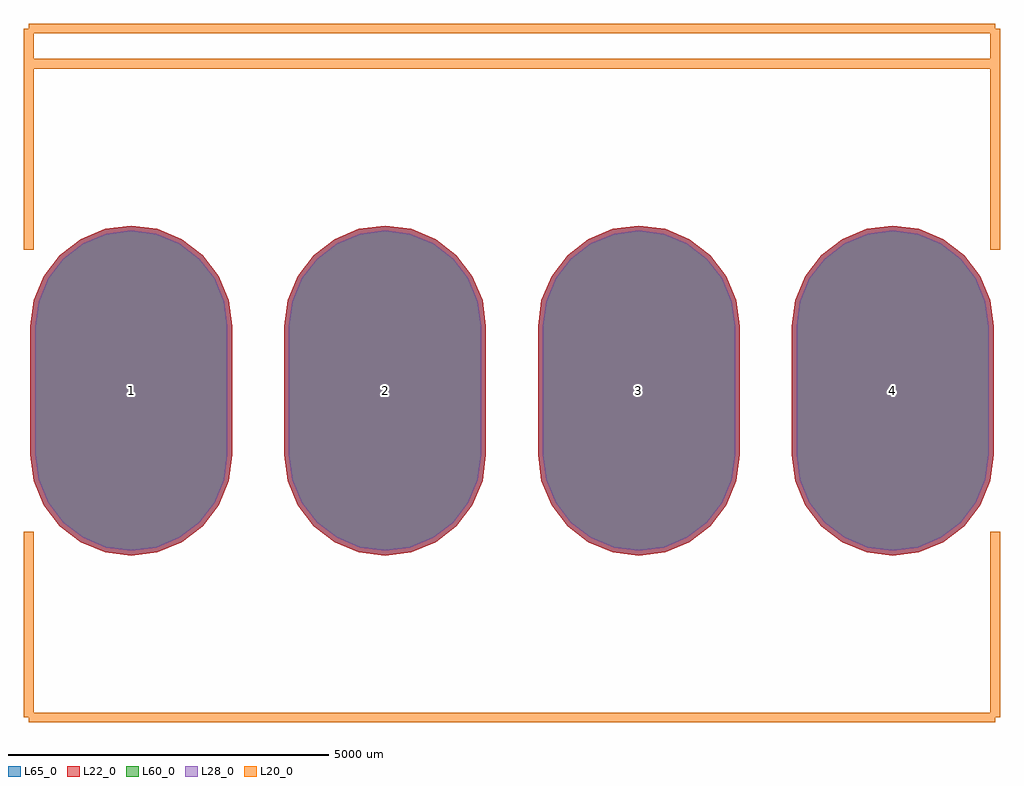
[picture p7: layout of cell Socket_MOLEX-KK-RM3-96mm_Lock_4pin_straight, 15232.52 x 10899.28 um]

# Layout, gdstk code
import gdstk
lib = gdstk.Library(unit=1e-6, precision=1e-09)
def P(c, l, *ps):  # polygons
    for p in ps: c.add(gdstk.Polygon(p, *l))
L20_0 = (20, 0)
L22_0 = (22, 0)
L28_0 = (28, 0)
L60_0 = (60, 0)
L65_0 = (65, 0)

socket_molex_kk_rm3_96mm = lib.new_cell('Socket_MOLEX-KK-RM3-96mm_Lock_4pin_straight')
P(socket_molex_kk_rm3_96mm, L22_0, [(5941.06,-2575.63),(6348.666,-2521.968),(6728.495,-2364.637),(7054.661,-2114.361),(7304.937,-1788.195),(7462.268,-1408.366),(7515.93,-1000.76),(7515.93,1000.76),(7462.268,1408.366),(7304.937,1788.195),(7054.661,2114.361),(6728.495,2364.637),(6348.666,2521.968),(5941.06,2575.63),(5533.454,2521.968),(5153.625,2364.637),(4827.459,2114.361),(4577.183,1788.195),(4419.852,1408.366),(4366.19,1000.76),(4366.19,-1000.76),(4419.852,-1408.366),(4577.183,-1788.195),(4827.459,-2114.361),(5153.625,-2364.637),(5533.454,-2521.968)],
  [(-5941.06,-2575.63),(-5533.454,-2521.968),(-5153.625,-2364.637),(-4827.459,-2114.361),(-4577.183,-1788.195),(-4419.852,-1408.366),(-4366.19,-1000.76),(-4366.19,1000.76),(-4419.852,1408.366),(-4577.183,1788.195),(-4827.459,2114.361),(-5153.625,2364.637),(-5533.454,2521.968),(-5941.06,2575.63),(-6348.666,2521.968),(-6728.495,2364.637),(-7054.661,2114.361),(-7304.937,1788.195),(-7462.268,1408.366),(-7515.93,1000.76),(-7515.93,-1000.76),(-7462.268,-1408.366),(-7304.937,-1788.195),(-7054.661,-2114.361),(-6728.495,-2364.637),(-6348.666,-2521.968)],
  [(1981.2,-2575.63),(2388.806,-2521.968),(2768.635,-2364.637),(3094.801,-2114.361),(3345.077,-1788.195),(3502.408,-1408.366),(3556.07,-1000.76),(3556.07,1000.76),(3502.408,1408.366),(3345.077,1788.195),(3094.801,2114.361),(2768.635,2364.637),(2388.806,2521.968),(1981.2,2575.63),(1573.594,2521.968),(1193.765,2364.637),(867.599,2114.361),(617.323,1788.195),(459.992,1408.366),(406.33,1000.76),(406.33,-1000.76),(459.992,-1408.366),(617.323,-1788.195),(867.599,-2114.361),(1193.765,-2364.637),(1573.594,-2521.968)],
  [(-1981.2,-2575.63),(-1573.594,-2521.968),(-1193.765,-2364.637),(-867.599,-2114.361),(-617.323,-1788.195),(-459.992,-1408.366),(-406.33,-1000.76),(-406.33,1000.76),(-459.992,1408.366),(-617.323,1788.195),(-867.599,2114.361),(-1193.765,2364.637),(-1573.594,2521.968),(-1981.2,2575.63),(-2388.806,2521.968),(-2768.635,2364.637),(-3094.801,2114.361),(-3345.077,1788.195),(-3502.408,1408.366),(-3556.07,1000.76),(-3556.07,-1000.76),(-3502.408,-1408.366),(-3345.077,-1788.195),(-3094.801,-2114.361),(-2768.635,-2364.637),(-2388.806,-2521.968)])
P(socket_molex_kk_rm3_96mm, L28_0, [(5941.06,-2500.63),(6329.255,-2449.523),(6690.995,-2299.686),(7001.628,-2061.328),(7239.986,-1750.695),(7389.823,-1388.955),(7440.93,-1000.76),(7440.93,1000.76),(7389.823,1388.955),(7239.986,1750.695),(7001.628,2061.328),(6690.995,2299.686),(6329.255,2449.523),(5941.06,2500.63),(5552.865,2449.523),(5191.125,2299.686),(4880.492,2061.328),(4642.134,1750.695),(4492.297,1388.955),(4441.19,1000.76),(4441.19,-1000.76),(4492.297,-1388.955),(4642.134,-1750.695),(4880.492,-2061.328),(5191.125,-2299.686),(5552.865,-2449.523)],
  [(-5941.06,-2500.63),(-5552.865,-2449.523),(-5191.125,-2299.686),(-4880.492,-2061.328),(-4642.134,-1750.695),(-4492.297,-1388.955),(-4441.19,-1000.76),(-4441.19,1000.76),(-4492.297,1388.955),(-4642.134,1750.695),(-4880.492,2061.328),(-5191.125,2299.686),(-5552.865,2449.523),(-5941.06,2500.63),(-6329.255,2449.523),(-6690.995,2299.686),(-7001.628,2061.328),(-7239.986,1750.695),(-7389.823,1388.955),(-7440.93,1000.76),(-7440.93,-1000.76),(-7389.823,-1388.955),(-7239.986,-1750.695),(-7001.628,-2061.328),(-6690.995,-2299.686),(-6329.255,-2449.523)],
  [(1981.2,-2500.63),(2369.395,-2449.523),(2731.135,-2299.686),(3041.768,-2061.328),(3280.126,-1750.695),(3429.963,-1388.955),(3481.07,-1000.76),(3481.07,1000.76),(3429.963,1388.955),(3280.126,1750.695),(3041.768,2061.328),(2731.135,2299.686),(2369.395,2449.523),(1981.2,2500.63),(1593.005,2449.523),(1231.265,2299.686),(920.632,2061.328),(682.274,1750.695),(532.437,1388.955),(481.33,1000.76),(481.33,-1000.76),(532.437,-1388.955),(682.274,-1750.695),(920.632,-2061.328),(1231.265,-2299.686),(1593.005,-2449.523)],
  [(-1981.2,-2500.63),(-1593.005,-2449.523),(-1231.265,-2299.686),(-920.632,-2061.328),(-682.274,-1750.695),(-532.437,-1388.955),(-481.33,-1000.76),(-481.33,1000.76),(-532.437,1388.955),(-682.274,1750.695),(-920.632,2061.328),(-1231.265,2299.686),(-1593.005,2449.523),(-1981.2,2500.63),(-2369.395,2449.523),(-2731.135,2299.686),(-3041.768,2061.328),(-3280.126,1750.695),(-3429.963,1388.955),(-3481.07,1000.76),(-3481.07,-1000.76),(-3429.963,-1388.955),(-3280.126,-1750.695),(-3041.768,-2061.328),(-2731.135,-2299.686),(-2369.395,-2449.523)])
P(socket_molex_kk_rm3_96mm, L60_0, [(5941.06,-2500.63),(6329.255,-2449.523),(6690.995,-2299.686),(7001.628,-2061.328),(7239.986,-1750.695),(7389.823,-1388.955),(7440.93,-1000.76),(7440.93,1000.76),(7389.823,1388.955),(7239.986,1750.695),(7001.628,2061.328),(6690.995,2299.686),(6329.255,2449.523),(5941.06,2500.63),(5552.865,2449.523),(5191.125,2299.686),(4880.492,2061.328),(4642.134,1750.695),(4492.297,1388.955),(4441.19,1000.76),(4441.19,-1000.76),(4492.297,-1388.955),(4642.134,-1750.695),(4880.492,-2061.328),(5191.125,-2299.686),(5552.865,-2449.523)],
  [(-5941.06,-2500.63),(-5552.865,-2449.523),(-5191.125,-2299.686),(-4880.492,-2061.328),(-4642.134,-1750.695),(-4492.297,-1388.955),(-4441.19,-1000.76),(-4441.19,1000.76),(-4492.297,1388.955),(-4642.134,1750.695),(-4880.492,2061.328),(-5191.125,2299.686),(-5552.865,2449.523),(-5941.06,2500.63),(-6329.255,2449.523),(-6690.995,2299.686),(-7001.628,2061.328),(-7239.986,1750.695),(-7389.823,1388.955),(-7440.93,1000.76),(-7440.93,-1000.76),(-7389.823,-1388.955),(-7239.986,-1750.695),(-7001.628,-2061.328),(-6690.995,-2299.686),(-6329.255,-2449.523)],
  [(1981.2,-2500.63),(2369.395,-2449.523),(2731.135,-2299.686),(3041.768,-2061.328),(3280.126,-1750.695),(3429.963,-1388.955),(3481.07,-1000.76),(3481.07,1000.76),(3429.963,1388.955),(3280.126,1750.695),(3041.768,2061.328),(2731.135,2299.686),(2369.395,2449.523),(1981.2,2500.63),(1593.005,2449.523),(1231.265,2299.686),(920.632,2061.328),(682.274,1750.695),(532.437,1388.955),(481.33,1000.76),(481.33,-1000.76),(532.437,-1388.955),(682.274,-1750.695),(920.632,-2061.328),(1231.265,-2299.686),(1593.005,-2449.523)],
  [(-1981.2,-2500.63),(-1593.005,-2449.523),(-1231.265,-2299.686),(-920.632,-2061.328),(-682.274,-1750.695),(-532.437,-1388.955),(-481.33,-1000.76),(-481.33,1000.76),(-532.437,1388.955),(-682.274,1750.695),(-920.632,2061.328),(-1231.265,2299.686),(-1593.005,2449.523),(-1981.2,2500.63),(-2369.395,2449.523),(-2731.135,2299.686),(-3041.768,2061.328),(-3280.126,1750.695),(-3429.963,1388.955),(-3481.07,1000.76),(-3481.07,-1000.76),(-3429.963,-1388.955),(-3280.126,-1750.695),(-3041.768,-2061.328),(-2731.135,-2299.686),(-2369.395,-2449.523)])
P(socket_molex_kk_rm3_96mm, L65_0, [(5941.06,-2575.63),(6348.666,-2521.968),(6728.495,-2364.637),(7054.661,-2114.361),(7304.937,-1788.195),(7462.268,-1408.366),(7515.93,-1000.76),(7515.93,1000.76),(7462.268,1408.366),(7304.937,1788.195),(7054.661,2114.361),(6728.495,2364.637),(6348.666,2521.968),(5941.06,2575.63),(5533.454,2521.968),(5153.625,2364.637),(4827.459,2114.361),(4577.183,1788.195),(4419.852,1408.366),(4366.19,1000.76),(4366.19,-1000.76),(4419.852,-1408.366),(4577.183,-1788.195),(4827.459,-2114.361),(5153.625,-2364.637),(5533.454,-2521.968)],
  [(-5941.06,-2575.63),(-5533.454,-2521.968),(-5153.625,-2364.637),(-4827.459,-2114.361),(-4577.183,-1788.195),(-4419.852,-1408.366),(-4366.19,-1000.76),(-4366.19,1000.76),(-4419.852,1408.366),(-4577.183,1788.195),(-4827.459,2114.361),(-5153.625,2364.637),(-5533.454,2521.968),(-5941.06,2575.63),(-6348.666,2521.968),(-6728.495,2364.637),(-7054.661,2114.361),(-7304.937,1788.195),(-7462.268,1408.366),(-7515.93,1000.76),(-7515.93,-1000.76),(-7462.268,-1408.366),(-7304.937,-1788.195),(-7054.661,-2114.361),(-6728.495,-2364.637),(-6348.666,-2521.968)],
  [(1981.2,-2575.63),(2388.806,-2521.968),(2768.635,-2364.637),(3094.801,-2114.361),(3345.077,-1788.195),(3502.408,-1408.366),(3556.07,-1000.76),(3556.07,1000.76),(3502.408,1408.366),(3345.077,1788.195),(3094.801,2114.361),(2768.635,2364.637),(2388.806,2521.968),(1981.2,2575.63),(1573.594,2521.968),(1193.765,2364.637),(867.599,2114.361),(617.323,1788.195),(459.992,1408.366),(406.33,1000.76),(406.33,-1000.76),(459.992,-1408.366),(617.323,-1788.195),(867.599,-2114.361),(1193.765,-2364.637),(1573.594,-2521.968)],
  [(-1981.2,-2575.63),(-1573.594,-2521.968),(-1193.765,-2364.637),(-867.599,-2114.361),(-617.323,-1788.195),(-459.992,-1408.366),(-406.33,-1000.76),(-406.33,1000.76),(-459.992,1408.366),(-617.323,1788.195),(-867.599,2114.361),(-1193.765,2364.637),(-1573.594,2521.968),(-1981.2,2575.63),(-2388.806,2521.968),(-2768.635,2364.637),(-3094.801,2114.361),(-3345.077,1788.195),(-3502.408,1408.366),(-3556.07,1000.76),(-3556.07,-1000.76),(-3502.408,-1408.366),(-3345.077,-1788.195),(-3094.801,-2114.361),(-2768.635,-2364.637),(-2388.806,-2521.968)])
socket_molex_kk_rm3_96mm.add(gdstk.FlexPath([(7541.26,-5100.32),(7541.26,-2199.64)], 149.998, ends="flush", simple_path=True, layer=20, datatype=0))  # L20_0
socket_molex_kk_rm3_96mm.add(gdstk.FlexPath([(5941.06,-5100.32),(7541.26,-5100.32)], 149.998, ends="flush", simple_path=True, layer=20, datatype=0))  # L20_0
socket_molex_kk_rm3_96mm.add(gdstk.FlexPath([(3561.08,-5100.32),(5941.06,-5100.32)], 149.998, ends="flush", simple_path=True, layer=20, datatype=0))  # L20_0
socket_molex_kk_rm3_96mm.add(gdstk.FlexPath([(-7541.26,5100.32),(-7541.26,2199.64)], 149.998, ends="flush", simple_path=True, layer=20, datatype=0))  # L20_0
socket_molex_kk_rm3_96mm.add(gdstk.FlexPath([(7541.26,5100.32),(-7541.26,5100.32)], 149.998, ends="flush", simple_path=True, layer=20, datatype=0))  # L20_0
socket_molex_kk_rm3_96mm.add(gdstk.FlexPath([(7541.26,2199.64),(7541.26,5100.32)], 149.998, ends="flush", simple_path=True, layer=20, datatype=0))  # L20_0
socket_molex_kk_rm3_96mm.add(gdstk.FlexPath([(-7541.26,-5100.32),(3561.08,-5100.32)], 149.998, ends="flush", simple_path=True, layer=20, datatype=0))  # L20_0
socket_molex_kk_rm3_96mm.add(gdstk.FlexPath([(-7541.26,-2199.64),(-7541.26,-5100.32)], 149.998, ends="flush", simple_path=True, layer=20, datatype=0))  # L20_0
socket_molex_kk_rm3_96mm.add(gdstk.FlexPath([(-7541.26,5648.96),(-7541.26,5100.32)], 149.998, ends="flush", simple_path=True, layer=20, datatype=0))  # L20_0
socket_molex_kk_rm3_96mm.add(gdstk.FlexPath([(7541.26,5648.96),(-7541.26,5648.96)], 149.998, ends="flush", simple_path=True, layer=20, datatype=0))  # L20_0
socket_molex_kk_rm3_96mm.add(gdstk.FlexPath([(7541.26,5100.32),(7541.26,5648.96)], 149.998, ends="flush", simple_path=True, layer=20, datatype=0))  # L20_0
socket_molex_kk_rm3_96mm.add(gdstk.Label('4', (5941.06,0), layer=28, texttype=0))
socket_molex_kk_rm3_96mm.add(gdstk.Label('1', (-5941.06,0), layer=28, texttype=0))
socket_molex_kk_rm3_96mm.add(gdstk.Label('3', (1981.2,0), layer=28, texttype=0))
socket_molex_kk_rm3_96mm.add(gdstk.Label('2', (-1981.2,0), layer=28, texttype=0))
socket_molex_kk_rm3_96mm.add(gdstk.Label('type', (1270,-7620), layer=9, texttype=0))
socket_molex_kk_rm3_96mm.add(gdstk.Label('devicename', (0,7620), layer=9, texttype=0))

lib.write_gds('Socket_MOLEX-KK-RM3-96mm_Lock_4pin_straight.gds')
